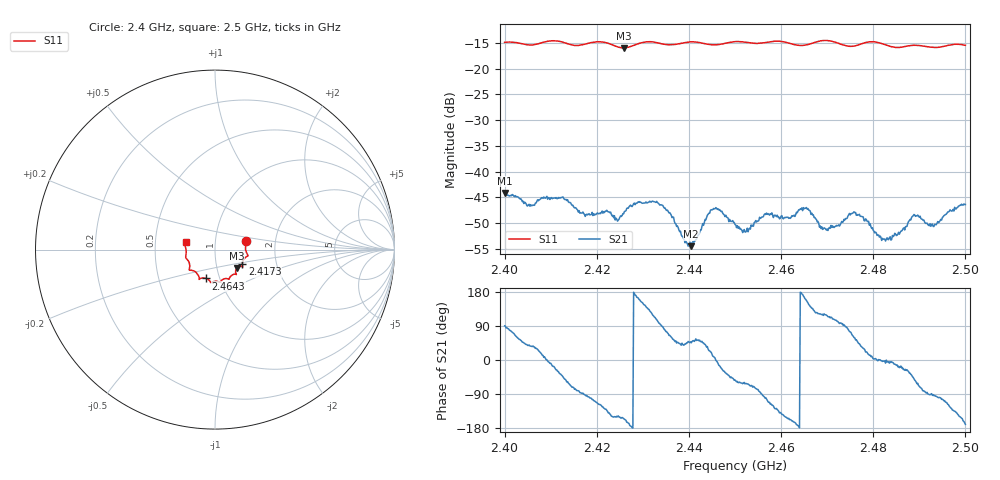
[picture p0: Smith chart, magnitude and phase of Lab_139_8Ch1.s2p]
# Hz S RI R 50
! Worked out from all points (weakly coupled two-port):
!   601 points, 2.4 GHz to 2.5 GHz, reference 50 ohm
!   highest |S21| = -44.16 dB at 2.4 GHz (marker M1); lowest = -54.5 dB at 2.4405 GHz (marker M2)
!   lowest |S11| = -15.9 dB at 2.4258 GHz (marker M3), VSWR 1.38, Z = 62.3 - j13.2 ohm
!   |S11| at or under -10 dB: start of sweep to end of sweep
!   S12 and S22 are empty: the file has one direction only
!   S11 on the Smith chart (normalised r, x): 2.4 GHz: 1.41, +0.14; 2.4173 GHz: 1.34, -0.23; 2.4643 GHz: 0.86, -0.28; 2.5 GHz: 0.72, +0.06
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2.4e9  0.1737 0.0492  -5.57e-06 0.0062  0 0  0 0
2.405333e9  0.1698 0.0102  0.00369 0.00306  0 0  0 0
2.412333e9  0.1791 -0.0375  0.00431 -0.00359  0 0  0 0
2.416667e9  0.1529 -0.0742  0.000186 -0.00394  0 0  0 0
2.417333e9  0.1521 -0.0819  -6.06e-05 -0.00384  0 0  0 0
2.425833e9  0.1218 -0.103  -0.00352 -0.00165  0 0  0 0
2.429e9  0.1155 -0.1315  -0.00487 0.00142  0 0  0 0
2.433333e9  0.1135 -0.1369  -0.000914 0.00483  0 0  0 0
2.4405e9  0.0784 -0.165  0.00132 0.00134  0 0  0 0
2.445333e9  0.0531 -0.1624  0.00431 0.00069  0 0  0 0
2.45e9  0.0287 -0.1812  0.00185 -0.00243  0 0  0 0
2.452e9  0.0227 -0.1802  0.0014 -0.00234  0 0  0 0
2.456833e9  -0.0125 -0.1799  -0.000887 -0.00385  0 0  0 0
2.461667e9  -0.029 -0.1752  -0.00315 -0.00154  0 0  0 0
2.464333e9  -0.0501 -0.1606  -0.00431 0.000164  0 0  0 0
2.466667e9  -0.0763 -0.159  -0.00284 0.00271  0 0  0 0
2.469667e9  -0.0887 -0.1662  -0.00136 0.00241  0 0  0 0
2.476e9  -0.1163 -0.119  0.00209 0.00339  0 0  0 0
2.483333e9  -0.1406 -0.0897  0.00217 -0.000173  0 0  0 0
2.488833e9  -0.1627 -0.0457  0.00247 -0.00292  0 0  0 0
2.493e9  -0.1605 -0.014  -8.19e-05 -0.00292  0 0  0 0
2.5e9  -0.1636 0.0425  -0.00471 -0.000839  0 0  0 0
